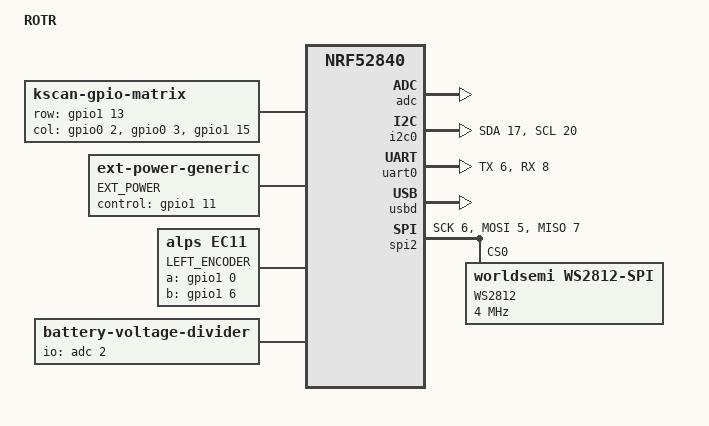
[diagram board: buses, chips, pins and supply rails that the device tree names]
/*
	* Copyright (c) 2021 Polarity Works
 *
 * SPDX-License-Identifier: MIT
 */

/dts-v1/;
#include <nordic/nrf52840_qiaa.dtsi>

/ {
	model = "ROTR";
	compatible = "rotr";

	chosen {
		zephyr,sram = &sram0;
		zephyr,flash = &flash0;
		zmk,kscan = &kscan0;
		zmk,underglow = &led_strip;
		zephyr,code-partition = &code_partition;
	};

	kscan0: kscan {
		compatible = "zmk,kscan-gpio-matrix";
		label = "KSCAN";
		diode-direction = "col2row";

		row-gpios
			= <&gpio1 13 (GPIO_ACTIVE_HIGH | GPIO_PULL_DOWN)>
		;
		col-gpios
			= <&gpio0 2 GPIO_ACTIVE_HIGH>
			, <&gpio0 3 GPIO_ACTIVE_HIGH>
			, <&gpio1 15  GPIO_ACTIVE_HIGH>
		;
	};

	ext-power {
		compatible = "zmk,ext-power-generic";
		label = "EXT_POWER";
		control-gpios = <&gpio1 11 GPIO_ACTIVE_HIGH>;
	};

	/*sensors {
		 compatible = "zmk,keymap-sensors";
		 sensors = <&left_encoder>;
	};*/

	left_encoder: encoder_left {
        compatible = "alps,ec11";
        label = "LEFT_ENCODER";
        a-gpios = <&gpio1 0 (GPIO_ACTIVE_HIGH | GPIO_PULL_UP)>;
        b-gpios = <&gpio1 6 (GPIO_ACTIVE_HIGH | GPIO_PULL_UP)>;
        resolution = <4>;
        status = "okay";
    };

	vbatt {
		compatible = "zmk,battery-voltage-divider";
		label = "BATTERY";
		io-channels = <&adc 2>;
		output-ohms = <2000000>;
		full-ohms = <(2000000 + 806000)>;
	};
};

&adc {
	status = "okay";
};

&gpiote {
	status = "okay";
};

&gpio0 {
	status = "okay";
};

&gpio1 {
	status = "okay";
};

&i2c0 {
	compatible = "nordic,nrf-twi";
	sda-pin = <17>;
	scl-pin = <20>;
};

&uart0 {
	compatible = "nordic,nrf-uarte";
	tx-pin = <6>;
	rx-pin = <8>;
};

&usbd {
	status = "okay";
};


&flash0 {
	/*
	 * For more information, see:
	 * http://docs.zephyrproject.org/latest/devices/dts/flash_partitions.html
	 */
	partitions {
		compatible = "fixed-partitions";
		#address-cells = <1>;
		#size-cells = <1>;

		sd_partition: partition@0 {
			label = "softdevice";
			reg = <0x00000000 0x00026000>;
		};
		code_partition: partition@26000 {
			label = "code_partition";
			reg = <0x00026000 0x000c6000>;
		};

		/*
		 * The flash starting at 0x000ec000 and ending at
		 * 0x000f3fff is reserved for use by the application.
		 */

		/*
		 * Storage partition will be used by FCB/LittleFS/NVS
		 * if enabled.
		 */
		storage_partition: partition@ec000 {
			label = "storage";
			reg = <0x000ec000 0x00008000>;
		};

		boot_partition: partition@f4000 {
			label = "adafruit_boot";
			reg = <0x000f4000 0x0000c000>;
		};
	};
};

/*
	&spi1 {
	encoder0 : encoder {
		compatible = "magalpha,ma730";
		label = "KNOB";

		reg = <0>;
    spi-max-frequency = <25000000>;


		resolution = <8>; //degrees per keypress
	};
	cs-gpios = <&gpioa 4 GPIO_ACTIVE_LOW>;
};
*/

&spi2 {
	compatible = "nordic,nrf-spim";
	status = "okay";
	mosi-pin = <5>;
	// Unused pins, needed for SPI definition, but not used by the ws2812 driver itself.
	sck-pin = <6>;
	miso-pin = <7>;

  led_strip: ws2812@0 {
    compatible = "worldsemi,ws2812-spi";
    label = "WS2812";

    /* SPI */
    reg = <0>;
    spi-max-frequency = <4000000>;

    /* WS2812 */
    chain-length = <3>; /* number of LEDs */
    spi-one-frame = <0x70>;
    spi-zero-frame = <0x40>;
  };
	status = "okay";
};
